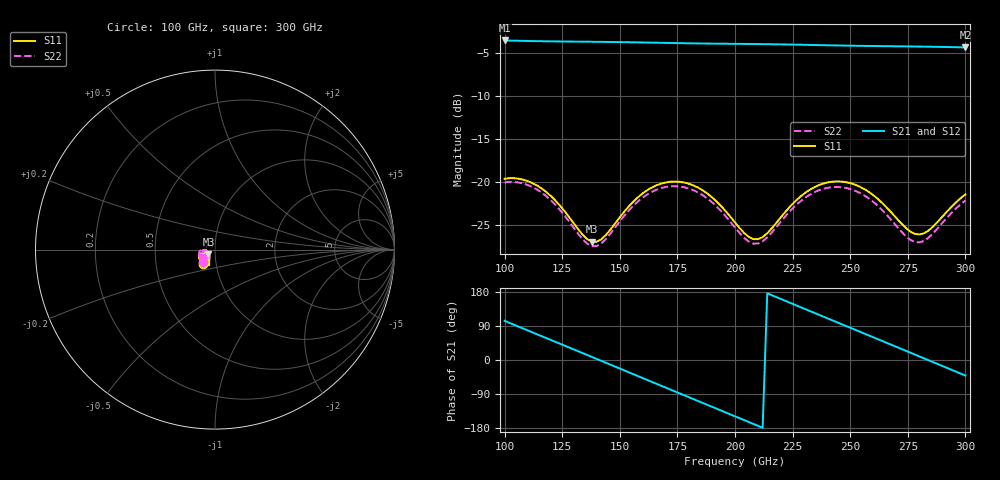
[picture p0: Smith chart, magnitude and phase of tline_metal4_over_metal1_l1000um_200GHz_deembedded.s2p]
! Created with skrf 2.0.1 (http://scikit-rf.org).
# GHz S DB R 50.0
!freq dBS11 angS11 dBS21 angS21 dBS12 angS12 dBS22 angS22
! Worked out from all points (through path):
!   101 points, 100 GHz to 300 GHz, reference 50 ohm
!   highest |S21| = -3.49 dB at 100 GHz (marker M1); lowest = -4.3 dB at 300 GHz (marker M2)
!   group delay of S21, straight-line fit = 7.01 ps
!   lowest |S11| = -27.0 dB at 138 GHz (marker M3), VSWR 1.09, Z = 46.4 - j2.38 ohm
!   |S11| at or under -10 dB: start of sweep to end of sweep
!   |S22| runs from -27.5 to -20.0 dB; largest |S21 - S12| = 7.7e-14
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100  -19.64 -129.9  -3.49 103.3  -3.49 103.3  -20.07 -134.1
108  -19.75 -143.4  -3.54 83.2  -3.54 83.2  -20.20 -148.1
116  -20.77 -155.4  -3.58 63.1  -3.58 63.1  -21.25 -160.7
126  -23.43 -163.6  -3.62 38.0  -3.62 38.0  -23.94 -169.5
134  -26.23 -156.0  -3.64 17.9  -3.64 17.9  -26.76 -162.1
138  -27.01 -144.9  -3.65 7.8  -3.65 7.8  -27.52 -151.2
152  -23.47 -120.3  -3.69 -27.6  -3.69 -27.6  -23.94 -127.7
168  -20.21 -135.7  -3.77 -68.1  -3.77 -68.1  -20.73 -144.4
176  -20.01 -147.3  -3.81 -88.2  -3.81 -88.2  -20.55 -156.5
184  -20.69 -158.1  -3.84 -108.3  -3.84 -108.3  -21.26 -167.8
200  -24.75 -165.2  -3.89 -148.6  -3.89 -148.6  -25.35 -175.5
208  -26.70 -148.7  -3.91 -168.8  -3.91 -168.8  -27.23 -159.4
216  -25.43 -128.5  -3.94 170.9  -3.94 170.9  -25.91 -140.3
224  -22.87 -124.2  -3.97 150.7  -3.97 150.7  -23.39 -137.0
234  -20.69 -132.2  -4.02 125.4  -4.02 125.4  -21.28 -145.9
242  -19.99 -142.3  -4.07 105.3  -4.07 105.3  -20.63 -156.6
250  -20.16 -152.9  -4.10 85.2  -4.10 85.2  -20.85 -167.8
258  -21.17 -161.8  -4.13 65.0  -4.13 65.0  -21.93 -177.4
268  -23.63 -165.6  -4.17 39.9  -4.17 39.9  -24.52 178.4
280  -26.16 -145.1  -4.21 9.5  -4.21 9.5  -27.08 -160.3
290  -24.08 -126.7  -4.25 -15.8  -4.25 -15.8  -24.81 -142.6
300  -21.47 -128.1  -4.30 -41.0  -4.30 -41.0  -22.19 -145.6
